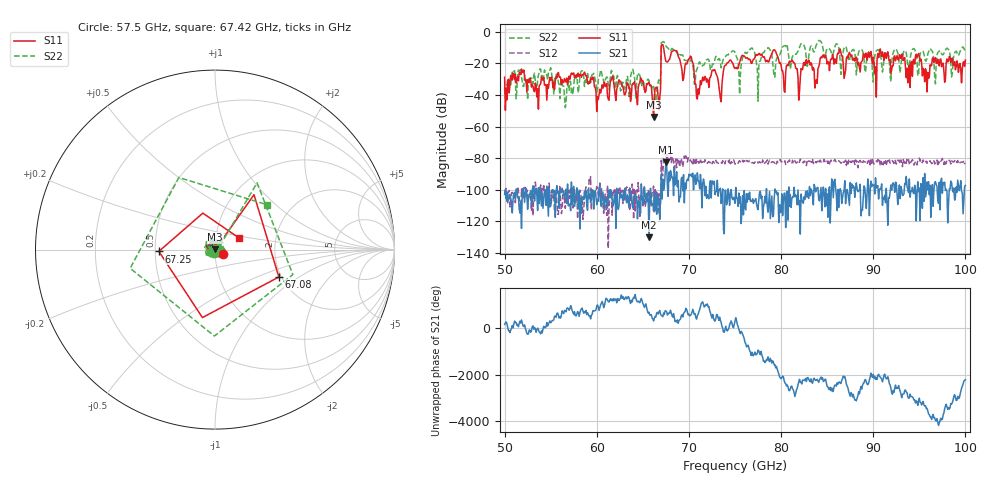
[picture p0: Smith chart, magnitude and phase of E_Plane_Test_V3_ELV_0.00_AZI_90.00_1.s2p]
! 11/26/2026 3:59:41 PM
! C:\ANRITSUVNA\TEMP\TEMP.S2P
! CHANNEL.1
! TR.MEASUREMENT
! RAW.DATA
# HZ S RI R 50.0
! FREQ.HZ  S11RE  S11IM  S21RE  S21IM  S12RE  S12IM  S22RE  S22IM
!; PortSelection: Port_12
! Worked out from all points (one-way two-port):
!   601 points, 50 GHz to 100 GHz, reference 50 ohm
!   highest |S21| = -82.60 dB at 67.5 GHz (marker M1); lowest = -130.0 dB at 65.67 GHz (marker M2)
!   lowest |S11| = -54.0 dB at 66.17 GHz (marker M3), VSWR 1.00, Z = 50.1 + j0.143 ohm
!   |S11| at or under -10 dB: start of sweep to 67 GHz; 67.25 GHz to end of sweep
!   |S22| runs from -48.1 to -5.6 dB; largest |S21 - S12| = 0.00014
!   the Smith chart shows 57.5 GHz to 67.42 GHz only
!   S11 on the Smith chart (normalised r, x): 57.5 GHz: 1.09, -0.05; 67.08 GHz: 1.94, -0.70; 67.25 GHz: 0.52, -0.01; 67.42 GHz: 1.29, +0.17
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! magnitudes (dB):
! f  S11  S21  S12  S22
! 50 GHz  -28.9  -103.0  -100.9  -36.0
! 51.67 GHz  -26.3  -114.7  -113.6  -23.3
! 53.42 GHz  -34.8  -98.9  -99.2  -35.5
! 57.5 GHz  -26.1  -97.8  -98.5  -34.7
! 58.42 GHz  -27.1  -105.3  -105.0  -24.7
! 60.17 GHz  -42.9  -107.3  -103.1  -30.4
! 65.67 GHz  -32.0  -130.0  -104.8  -30.9
! 66.17 GHz  -54.0  -113.4  -97.6  -34.0
! 66.67 GHz  -41.5  -104.9  -113.1  -31.7
! 67.08 GHz  -8.2  -105.8  -90.9  -6.8
! 67.25 GHz  -10.1  -100.2  -78.7  -6.3
! 67.42 GHz  -16.6  -90.3  -77.1  -8.4
! 67.5 GHz  -18.8  -82.6  -75.4  -9.1
! 70.25 GHz  -15.9  -90.0  -82.1  -18.8
! 70.92 GHz  -42.6  -89.3  -82.1  -23.0
! 75 GHz  -23.3  -108.5  -83.8  -13.0
! 79.25 GHz  -11.5  -105.6  -82.5  -28.8
! 80.25 GHz  -27.8  -107.2  -82.2  -9.3
! 83.42 GHz  -24.3  -103.9  -80.3  -10.8
! 91.67 GHz  -16.6  -104.9  -82.8  -15.2
! 95.83 GHz  -38.1  -95.0  -83.2  -16.5
! 100 GHz  -18.0  -97.2  -83.4  -12.6
